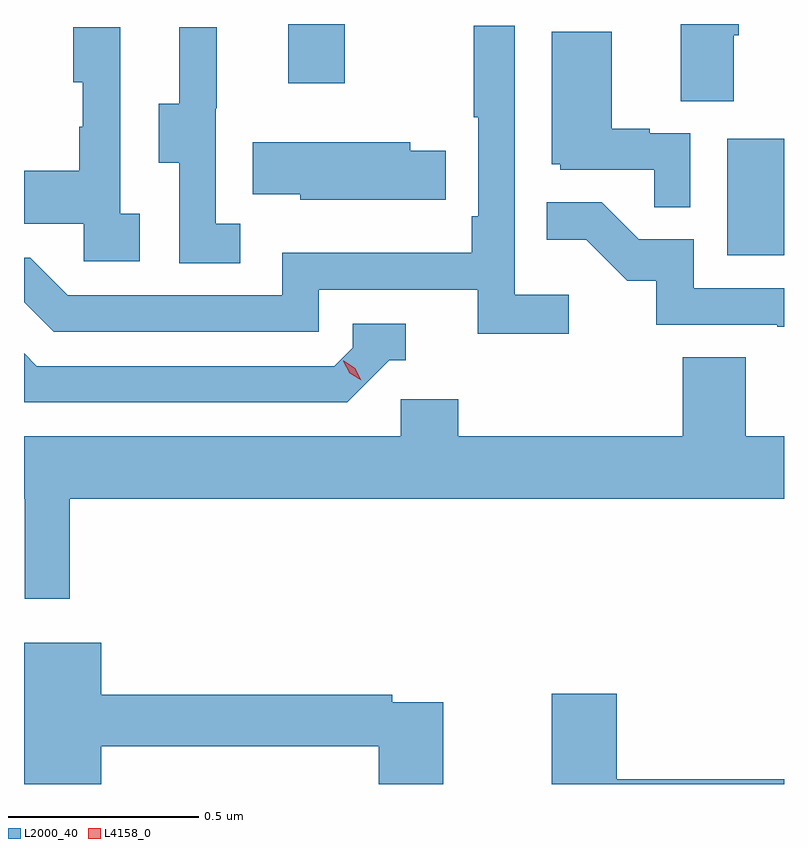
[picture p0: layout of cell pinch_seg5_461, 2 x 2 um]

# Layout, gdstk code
import gdstk
lib = gdstk.Library(unit=1e-6, precision=1e-09)
def R(c, l, rs):  # rectangles x0, y0, x1, y1
    for r in rs: c.add(gdstk.rectangle(r[:2], r[2:], *l))
def P(c, l, *ps):  # polygons
    for p in ps: c.add(gdstk.Polygon(p, *l))
L2000_40 = (2000, 40)
L4158_0 = (4158, 0)

pinch_seg5_461 = lib.new_cell('pinch_seg5_461')
R(pinch_seg5_461, L2000_40, [(925.268,864.06,925.417,864.367), (924.113,864.513,924.261,864.669)])
P(pinch_seg5_461, L2000_40, [(925.285,864.64),(925.298,864.64),(925.298,864.669),(925.145,864.669),(925.145,864.466),(925.285,864.466)],
  [(924.85,863.956),(924.708,863.956),(924.708,864.664),(924.6,864.664),(924.6,864.424),(924.612,864.424),(924.612,864.163),(924.595,864.163),(924.595,864.067),(924.096,864.067),(924.096,863.955),(923.532,863.955),(923.433,864.054),(923.417,864.054),(923.417,863.937),(923.495,863.859),(924.192,863.859),(924.192,863.97),(924.611,863.97),(924.611,863.854),(924.85,863.854)],
  [(923.722,864.17),(923.67,864.17),(923.67,864.661),(923.546,864.661),(923.546,864.516),(923.572,864.516),(923.572,864.398),(923.562,864.398),(923.562,864.283),(923.417,864.283),(923.417,864.143),(923.574,864.143),(923.574,864.045),(923.722,864.045)],
  [(923.986,864.143),(923.922,864.143),(923.922,864.447),(923.924,864.447),(923.924,864.661),(923.825,864.661),(923.825,864.459),(923.771,864.459),(923.771,864.304),(923.826,864.304),(923.826,864.04),(923.986,864.04)],
  [(925.17,864.381),(925.064,864.381),(925.064,864.394),(924.964,864.394),(924.964,864.649),(924.806,864.649),(924.806,864.3),(924.828,864.3),(924.828,864.285),(925.075,864.285),(925.075,864.187),(925.17,864.187)],
  [(924.416,864.207),(924.527,864.207),(924.527,864.336),(924.433,864.336),(924.433,864.358),(924.019,864.358),(924.019,864.221),(924.144,864.221),(924.144,864.206),(924.416,864.206)],
  [(925.417,863.973),(925.179,863.973),(925.179,864.102),(925.035,864.102),(924.937,864.2),(924.793,864.2),(924.793,864.101),(924.897,864.101),(925.004,863.994),(925.081,863.994),(925.081,863.877),(925.399,863.877),(925.399,863.872),(925.417,863.872)],
  [(924.378,863.784),(924.421,863.784),(924.421,863.88),(924.282,863.88),(924.282,863.817),(924.234,863.769),(923.451,863.769),(923.417,863.803),(923.417,863.673),(924.267,863.673)],
  [(923.537,863.42),(925.417,863.42),(925.417,863.584),(925.316,863.584),(925.316,863.792),(925.151,863.792),(925.151,863.584),(924.56,863.584),(924.56,863.682),(924.408,863.682),(924.408,863.584),(923.417,863.584),(923.417,863.42),(923.419,863.42),(923.419,863.157),(923.537,863.157)],
  [(923.62,862.768),(924.35,862.768),(924.35,862.669),(924.52,862.669),(924.52,862.884),(924.386,862.884),(924.386,862.904),(923.62,862.904),(923.62,863.041),(923.417,863.041),(923.417,862.669),(923.62,862.669)],
  [(925.417,862.682),(924.977,862.682),(924.977,862.906),(924.806,862.906),(924.806,862.669),(925.417,862.669)])
P(pinch_seg5_461, L4158_0, [(924.305,863.731),(924.274,863.75),(924.257,863.782),(924.257,863.783),(924.258,863.783),(924.289,863.763),(924.305,863.731),(924.305,863.731)])

lib.write_gds('pinch_seg5_461.gds')
